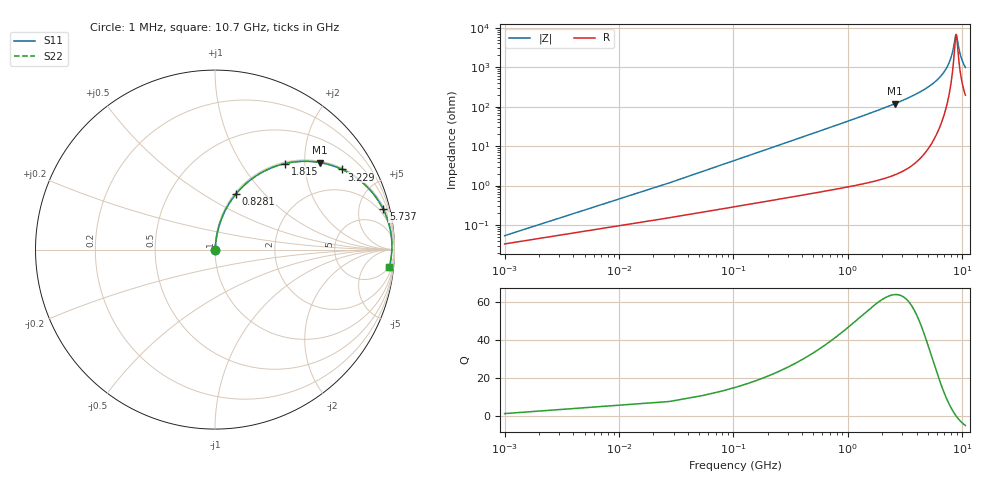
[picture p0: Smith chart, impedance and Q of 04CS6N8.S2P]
! Coilcraft 0402CS-6N8 Chip Inductor
! 22 July 2002
# MHZ S MA R 50
!Freq  MagS11  AngS11  MagS21  AngS21  MagS12  AngS12  MagS22  AngS22
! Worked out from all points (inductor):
!   403 points, 1 MHz to 10.7 GHz, reference 50 ohm
!   read as one part in series: L = 6.7 nH near 54.36 MHz
!   highest Q = 63.7 at 2.589 GHz (marker M1), where L = 7.32 nH
!   self-resonance near 8.885 GHz
!   S11 on the Smith chart (normalised r, x): 1 MHz: 1.00, +0.00; 828.1 MHz: 1.02, +0.70; 1.815 GHz: 1.03, +1.60; 3.229 GHz: 1.05, +3.13; 5.737 GHz: 1.31, +8.28; 10.7 GHz: 5, -19
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1  0.0005353 51.8  0.9997 -0.0  0.9997 -0.0  0.0005353 51.8
81.04  0.03411 83.7  0.9968 -1.9  0.9968 -1.9  0.03411 83.7
107.72  0.04527 83.7  0.996 -2.6  0.996 -2.6  0.04527 83.7
161.08  0.06753 83.1  0.9941 -3.9  0.9941 -3.9  0.06753 83.1
267.8  0.1117 81.2  0.9891 -6.4  0.9891 -6.4  0.1117 81.2
401.2  0.166 78.5  0.9805 -9.6  0.9805 -9.6  0.166 78.5
828.08  0.3294 69.4  0.9365 -19.2  0.9365 -19.2  0.3294 69.4
1254.96  0.4708 60.8  0.8731 -28.1  0.8731 -28.1  0.4708 60.8
1788.56  0.6124 51.3  0.7802 -37.8  0.7802 -37.8  0.6124 51.3
1815.24  0.6185 50.8  0.7754 -38.2  0.7754 -38.2  0.6185 50.8
2588.96  0.7601 39.6  0.638 -49.5  0.638 -49.5  0.7601 39.6
3229.28  0.8368 32.3  0.5341 -56.8  0.5341 -56.8  0.8368 32.3
3576.12  0.8675 28.9  0.4827 -60.2  0.4827 -60.2  0.8675 28.9
5363.68  0.9549 15.6  0.2687 -72.6  0.2687 -72.6  0.9549 15.6
5737.2  0.9639 13.4  0.2326 -74.4  0.2326 -74.4  0.9639 13.4
7151.24  0.9826 6.6  0.1153 -78.0  0.1153 -78.0  0.9826 6.6
8005  0.986 3.2  0.05638 -74.0  0.05638 -74.0  0.986 3.2
8351.84  0.9862 1.9  0.03519 -65.9  0.03519 -65.9  0.9862 1.9
8778.72  0.9857 0.4  0.01564 -23.5  0.01564 -23.5  0.9857 0.4
8938.8  0.9853 -0.2  0.01505 12.0  0.01505 12.0  0.9853 -0.2
9685.84  0.9823 -2.6  0.04823 67.2  0.04823 67.2  0.9823 -2.6
10700  0.9756 -5.6  0.09916 73.0  0.09916 73.0  0.9756 -5.6
